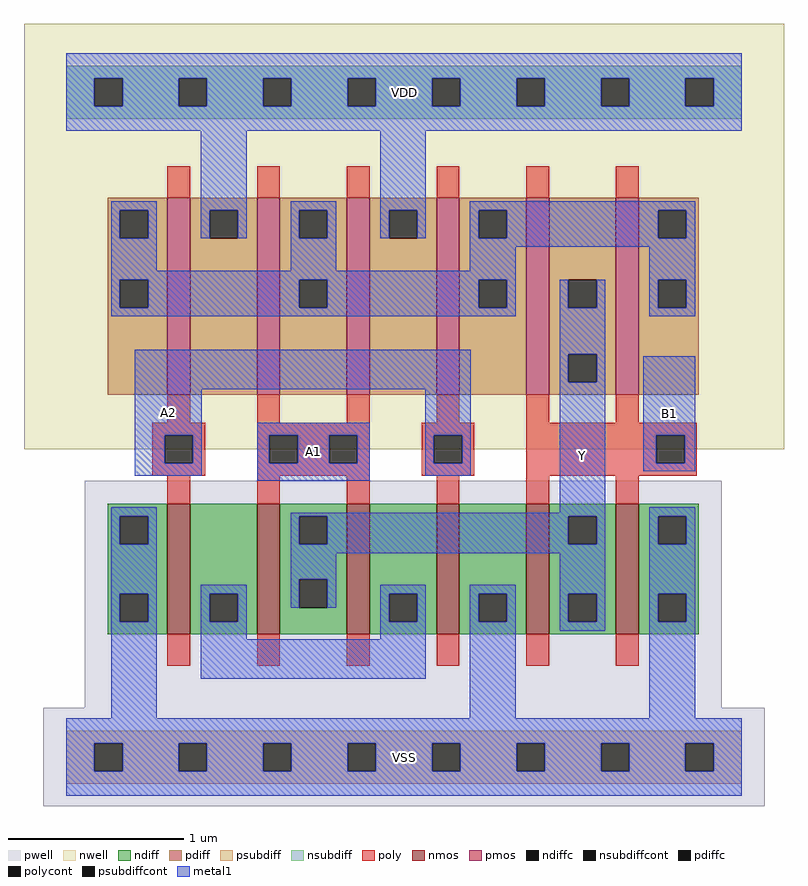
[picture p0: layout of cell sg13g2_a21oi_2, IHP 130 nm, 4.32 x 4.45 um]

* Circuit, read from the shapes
.subckt sg13g2_a21oi_2 Y A2 VDD A1 B1 VSS
XM1 n1 A2 VSS VSS sg13_lv_nmos w=0.74u l=0.13u m=2
XM2 Y A1 n1 VSS sg13_lv_nmos w=0.74u l=0.13u m=2
XM3 Y B1 VSS VSS sg13_lv_nmos w=0.74u l=0.13u m=2
XM4 VDD A2 n2 VDD sg13_lv_pmos w=1.12u l=0.13u m=2
XM5 n2 A1 VDD VDD sg13_lv_pmos w=1.12u l=0.13u m=2
XM6 Y B1 n2 VDD sg13_lv_pmos w=1.12u l=0.13u m=2
.ends

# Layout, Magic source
magic
tech ihp-sg13g2
magscale 1 2
<< nwell >>
rect -48 350 816 834
<< pwell >>
rect 21 56 745 314
rect -26 -56 794 56
<< nmos >>
rect 115 140 141 288
rect 217 140 243 288
rect 319 140 345 288
rect 421 140 447 288
rect 523 140 549 288
rect 625 140 651 288
<< pmos >>
rect 115 412 141 636
rect 217 412 243 636
rect 319 412 345 636
rect 421 412 447 636
rect 523 412 549 636
rect 625 412 651 636
<< ndiff >>
rect 47 274 115 288
rect 47 242 61 274
rect 93 242 115 274
rect 47 186 115 242
rect 47 154 61 186
rect 93 154 115 186
rect 47 140 115 154
rect 141 186 217 288
rect 141 154 163 186
rect 195 154 217 186
rect 141 140 217 154
rect 243 274 319 288
rect 243 242 265 274
rect 297 242 319 274
rect 243 202 319 242
rect 243 170 265 202
rect 297 170 319 202
rect 243 140 319 170
rect 345 186 421 288
rect 345 154 367 186
rect 399 154 421 186
rect 345 140 421 154
rect 447 186 523 288
rect 447 154 469 186
rect 501 154 523 186
rect 447 140 523 154
rect 549 274 625 288
rect 549 242 571 274
rect 603 242 625 274
rect 549 186 625 242
rect 549 154 571 186
rect 603 154 625 186
rect 549 140 625 154
rect 651 274 719 288
rect 651 242 673 274
rect 705 242 719 274
rect 651 186 719 242
rect 651 154 673 186
rect 705 154 719 186
rect 651 140 719 154
<< pdiff >>
rect 47 622 115 636
rect 47 590 61 622
rect 93 590 115 622
rect 47 543 115 590
rect 47 511 61 543
rect 93 511 115 543
rect 47 412 115 511
rect 141 622 217 636
rect 141 590 163 622
rect 195 590 217 622
rect 141 412 217 590
rect 243 622 319 636
rect 243 590 265 622
rect 297 590 319 622
rect 243 543 319 590
rect 243 511 265 543
rect 297 511 319 543
rect 243 412 319 511
rect 345 622 421 636
rect 345 590 367 622
rect 399 590 421 622
rect 345 412 421 590
rect 447 622 523 636
rect 447 590 469 622
rect 501 590 523 622
rect 447 543 523 590
rect 447 511 469 543
rect 501 511 523 543
rect 447 412 523 511
rect 549 543 625 636
rect 549 511 571 543
rect 603 511 625 543
rect 549 458 625 511
rect 549 426 571 458
rect 603 426 625 458
rect 549 412 625 426
rect 651 622 719 636
rect 651 590 673 622
rect 705 590 719 622
rect 651 543 719 590
rect 651 511 673 543
rect 705 511 719 543
rect 651 412 719 511
<< ndiffc >>
rect 61 242 93 274
rect 61 154 93 186
rect 163 154 195 186
rect 265 242 297 274
rect 265 170 297 202
rect 367 154 399 186
rect 469 154 501 186
rect 571 242 603 274
rect 571 154 603 186
rect 673 242 705 274
rect 673 154 705 186
<< pdiffc >>
rect 61 590 93 622
rect 61 511 93 543
rect 163 590 195 622
rect 265 590 297 622
rect 265 511 297 543
rect 367 590 399 622
rect 469 590 501 622
rect 469 511 501 543
rect 571 511 603 543
rect 571 426 603 458
rect 673 590 705 622
rect 673 511 705 543
<< psubdiff >>
rect 0 16 768 30
rect 0 -16 32 16
rect 64 -16 128 16
rect 160 -16 224 16
rect 256 -16 320 16
rect 352 -16 416 16
rect 448 -16 512 16
rect 544 -16 608 16
rect 640 -16 704 16
rect 736 -16 768 16
rect 0 -30 768 -16
<< nsubdiff >>
rect 0 772 768 786
rect 0 740 32 772
rect 64 740 128 772
rect 160 740 224 772
rect 256 740 320 772
rect 352 740 416 772
rect 448 740 512 772
rect 544 740 608 772
rect 640 740 704 772
rect 736 740 768 772
rect 0 726 768 740
<< psubdiffcont >>
rect 32 -16 64 16
rect 128 -16 160 16
rect 224 -16 256 16
rect 320 -16 352 16
rect 416 -16 448 16
rect 512 -16 544 16
rect 608 -16 640 16
rect 704 -16 736 16
<< nsubdiffcont >>
rect 32 740 64 772
rect 128 740 160 772
rect 224 740 256 772
rect 320 740 352 772
rect 416 740 448 772
rect 512 740 544 772
rect 608 740 640 772
rect 704 740 736 772
<< poly >>
rect 115 636 141 672
rect 217 636 243 672
rect 319 636 345 672
rect 421 636 447 672
rect 523 636 549 672
rect 625 636 651 672
rect 115 380 141 412
rect 217 380 243 412
rect 319 380 345 412
rect 421 380 447 412
rect 523 380 549 412
rect 625 380 651 412
rect 98 366 158 380
rect 98 334 112 366
rect 144 334 158 366
rect 98 320 158 334
rect 217 366 345 380
rect 217 334 231 366
rect 263 334 299 366
rect 331 334 345 366
rect 217 320 345 334
rect 404 366 464 380
rect 404 334 418 366
rect 450 334 464 366
rect 404 320 464 334
rect 523 366 717 380
rect 523 334 671 366
rect 703 334 717 366
rect 523 320 717 334
rect 115 288 141 320
rect 217 288 243 320
rect 319 288 345 320
rect 421 288 447 320
rect 523 288 549 320
rect 625 288 651 320
rect 115 104 141 140
rect 217 104 243 140
rect 319 104 345 140
rect 421 104 447 140
rect 523 104 549 140
rect 625 104 651 140
<< polycont >>
rect 112 334 144 366
rect 231 334 263 366
rect 299 334 331 366
rect 418 334 450 366
rect 671 334 703 366
<< metal1 >>
rect 0 772 768 800
rect 0 740 32 772
rect 64 740 128 772
rect 160 740 224 772
rect 256 740 320 772
rect 352 740 416 772
rect 448 740 512 772
rect 544 740 608 772
rect 640 740 704 772
rect 736 740 768 772
rect 0 712 768 740
rect 51 622 103 632
rect 51 590 61 622
rect 93 590 103 622
rect 153 622 205 712
rect 153 590 163 622
rect 195 590 205 622
rect 255 622 307 632
rect 255 590 265 622
rect 297 590 307 622
rect 357 622 409 712
rect 357 590 367 622
rect 399 590 409 622
rect 459 622 715 632
rect 459 590 469 622
rect 501 590 673 622
rect 705 590 715 622
rect 51 553 103 590
rect 255 553 307 590
rect 459 580 715 590
rect 459 553 511 580
rect 51 543 511 553
rect 663 543 715 580
rect 51 511 61 543
rect 93 511 265 543
rect 297 511 469 543
rect 501 511 511 543
rect 51 501 511 511
rect 561 511 571 543
rect 603 511 613 543
rect 78 418 460 463
rect 78 366 154 418
rect 78 334 112 366
rect 144 334 154 366
rect 78 320 154 334
rect 217 366 345 380
rect 217 334 231 366
rect 263 334 299 366
rect 331 334 345 366
rect 217 314 345 334
rect 408 366 460 418
rect 408 334 418 366
rect 450 334 460 366
rect 408 320 460 334
rect 561 458 613 511
rect 663 511 673 543
rect 705 511 715 543
rect 663 501 715 511
rect 561 426 571 458
rect 603 426 613 458
rect 51 274 103 284
rect 561 278 613 426
rect 656 366 715 456
rect 656 334 671 366
rect 703 334 715 366
rect 656 325 715 334
rect 51 242 61 274
rect 93 242 103 274
rect 51 186 103 242
rect 255 274 613 278
rect 255 242 265 274
rect 297 242 571 274
rect 603 242 613 274
rect 255 232 613 242
rect 255 202 307 232
rect 51 154 61 186
rect 93 154 103 186
rect 51 44 103 154
rect 153 186 205 196
rect 153 154 163 186
rect 195 154 205 186
rect 255 170 265 202
rect 297 170 307 202
rect 357 186 409 196
rect 153 134 205 154
rect 357 154 367 186
rect 399 154 409 186
rect 357 134 409 154
rect 153 89 409 134
rect 459 186 511 196
rect 459 154 469 186
rect 501 154 511 186
rect 459 44 511 154
rect 561 186 613 232
rect 561 154 571 186
rect 603 154 613 186
rect 561 144 613 154
rect 663 274 715 284
rect 663 242 673 274
rect 705 242 715 274
rect 663 186 715 242
rect 663 154 673 186
rect 705 154 715 186
rect 663 44 715 154
rect 0 16 768 44
rect 0 -16 32 16
rect 64 -16 128 16
rect 160 -16 224 16
rect 256 -16 320 16
rect 352 -16 416 16
rect 448 -16 512 16
rect 544 -16 608 16
rect 640 -16 704 16
rect 736 -16 768 16
rect 0 -44 768 -16
<< labels >>
flabel metal1 s 561 144 613 543 0 FreeSans 400 0 0 0 Y
port 2 nsew
flabel metal1 s 78 320 154 463 0 FreeSans 400 0 0 0 A2
port 3 nsew
flabel metal1 s 0 712 768 800 0 FreeSans 400 0 0 0 VDD
port 4 nsew
flabel metal1 s 217 314 345 380 0 FreeSans 400 0 0 0 A1
port 5 nsew
flabel metal1 s 656 325 715 456 0 FreeSans 400 0 0 0 B1
port 6 nsew
flabel metal1 s 0 -44 768 44 0 FreeSans 400 0 0 0 VSS
port 7 nsew
<< properties >>
string FIXED_BBOX 0 0 768 756
string GDS_END 139084
string GDS_FILE ../gds/controller.gds
string GDS_START 133544
<< end >>
